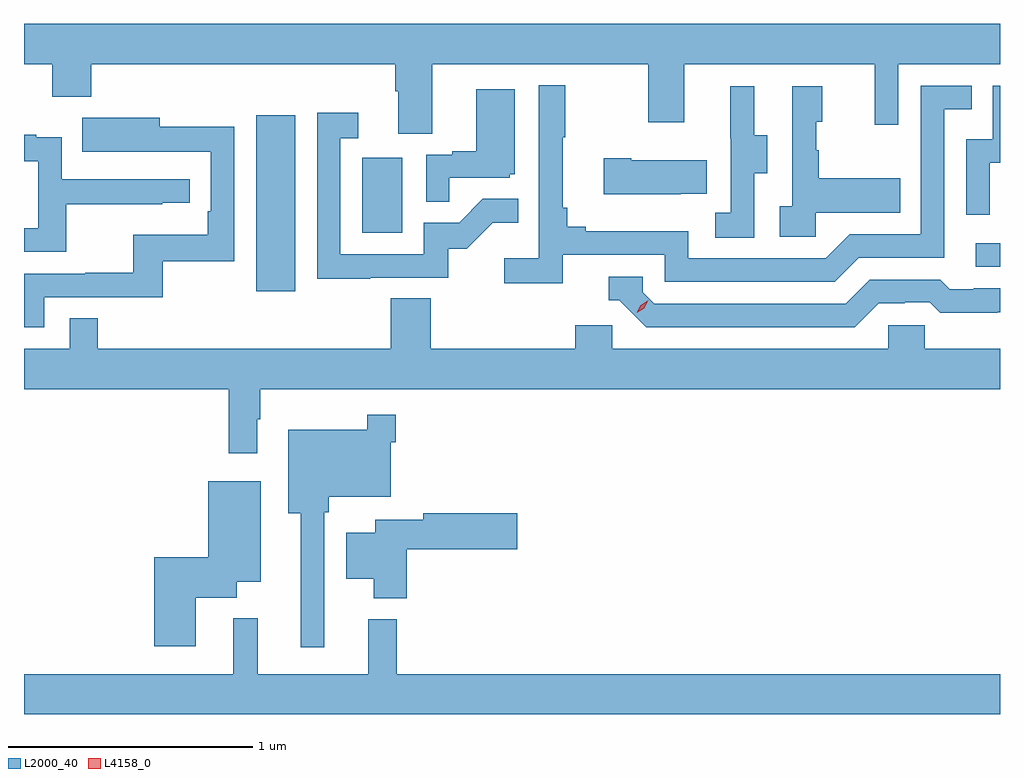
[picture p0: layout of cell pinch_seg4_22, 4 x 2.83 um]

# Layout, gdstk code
import gdstk
lib = gdstk.Library(unit=1e-6, precision=1e-09)
def R(c, l, rs):  # rectangles x0, y0, x1, y1
    for r in rs: c.add(gdstk.rectangle(r[:2], r[2:], *l))
def P(c, l, *ps):  # polygons
    for p in ps: c.add(gdstk.Polygon(p, *l))
L2000_40 = (2000, 40)
L4158_0 = (4158, 0)

pinch_seg4_22 = lib.new_cell('pinch_seg4_22')
R(pinch_seg4_22, L2000_40, [(1089.293,818.532,1089.454,819.253), (1092.243,818.634,1092.342,818.73), (1089.728,818.772,1089.892,819.079)])
P(pinch_seg4_22, L2000_40, [(1088.342,819.464),(1088.458,819.464),(1088.458,819.329),(1088.618,819.329),(1088.618,819.464),(1089.863,819.464),(1089.863,819.352),(1089.875,819.352),(1089.875,819.178),(1090.015,819.178),(1090.015,819.464),(1090.9,819.464),(1090.9,819.225),(1091.047,819.225),(1091.047,819.464),(1091.828,819.464),(1091.828,819.216),(1091.925,819.216),(1091.925,819.464),(1092.342,819.464),(1092.342,819.628),(1088.342,819.628)],
  [(1090.55,818.682),(1090.968,818.682),(1090.968,818.571),(1091.665,818.571),(1091.764,818.67),(1092.114,818.67),(1092.114,819.279),(1092.227,819.279),(1092.227,819.375),(1092.018,819.375),(1092.018,818.766),(1091.727,818.766),(1091.628,818.667),(1091.064,818.667),(1091.064,818.779),(1090.645,818.779),(1090.645,818.798),(1090.568,818.798),(1090.568,818.875),(1090.549,818.875),(1090.549,819.163),(1090.561,819.163),(1090.561,819.376),(1090.452,819.376),(1090.452,818.668),(1090.311,818.668),(1090.311,818.566),(1090.55,818.566)],
  [(1092.3,819.059),(1092.342,819.059),(1092.342,819.375),(1092.312,819.375),(1092.312,819.156),(1092.204,819.156),(1092.204,818.847),(1092.3,818.847)],
  [(1091.586,818.855),(1091.933,818.855),(1091.933,818.995),(1091.599,818.995),(1091.599,819.11),(1091.589,819.11),(1091.589,819.228),(1091.614,819.228),(1091.614,819.373),(1091.49,819.373),(1091.49,818.882),(1091.439,818.882),(1091.439,818.757),(1091.586,818.757)],
  [(1091.334,819.016),(1091.389,819.016),(1091.389,819.171),(1091.335,819.171),(1091.335,819.373),(1091.237,819.373),(1091.237,819.159),(1091.238,819.159),(1091.238,818.855),(1091.175,818.855),(1091.175,818.752),(1091.334,818.752)],
  [(1090.085,818.997),(1090.332,818.997),(1090.332,819.012),(1090.354,819.012),(1090.354,819.361),(1090.196,819.361),(1090.196,819.106),(1090.097,819.106),(1090.097,819.093),(1089.99,819.093),(1089.99,818.899),(1090.085,818.899)],
  [(1089.761,818.589),(1090.08,818.589),(1090.08,818.706),(1090.156,818.706),(1090.263,818.813),(1090.367,818.813),(1090.367,818.912),(1090.223,818.912),(1090.125,818.814),(1089.981,818.814),(1089.981,818.685),(1089.639,818.685),(1089.639,819.159),(1089.712,819.159),(1089.712,819.265),(1089.543,819.265),(1089.543,818.584),(1089.761,818.584)],
  [(1088.424,818.508),(1088.911,818.508),(1088.911,818.655),(1089.204,818.655),(1089.204,819.206),(1088.899,819.206),(1088.899,819.244),(1088.581,819.244),(1088.581,819.104),(1088.795,819.104),(1088.795,819.105),(1089.108,819.105),(1089.108,818.86),(1089.095,818.86),(1089.095,818.764),(1088.79,818.764),(1088.79,818.609),(1088.593,818.609),(1088.593,818.604),(1088.342,818.604),(1088.342,818.385),(1088.424,818.385)],
  [(1088.516,818.89),(1088.909,818.89),(1088.909,818.895),(1089.022,818.895),(1089.022,818.991),(1088.496,818.991),(1088.496,819.163),(1088.393,819.163),(1088.393,819.175),(1088.342,819.175),(1088.342,819.066),(1088.4,819.066),(1088.4,818.79),(1088.342,818.79),(1088.342,818.694),(1088.516,818.694)],
  [(1091.033,818.933),(1091.141,818.933),(1091.141,819.07),(1090.831,819.07),(1090.831,819.078),(1090.719,819.078),(1090.719,818.93),(1091.033,818.93)],
  [(1091.845,818.484),(1091.952,818.484),(1091.952,818.487),(1092.055,818.487),(1092.097,818.445),(1092.33,818.445),(1092.33,818.447),(1092.342,818.447),(1092.342,818.544),(1092.235,818.544),(1092.235,818.541),(1092.136,818.541),(1092.097,818.58),(1091.808,818.58),(1091.709,818.481),(1090.926,818.481),(1090.878,818.529),(1090.878,818.592),(1090.739,818.592),(1090.739,818.496),(1090.782,818.496),(1090.893,818.385),(1091.746,818.385)],
  [(1089.297,818.009),(1089.31,818.009),(1089.31,818.132),(1092.342,818.132),(1092.342,818.296),(1092.033,818.296),(1092.033,818.394),(1091.883,818.394),(1091.883,818.296),(1090.752,818.296),(1090.752,818.394),(1090.601,818.394),(1090.601,818.296),(1090.01,818.296),(1090.01,818.504),(1089.845,818.504),(1089.845,818.296),(1088.645,818.296),(1088.645,818.423),(1088.529,818.423),(1088.529,818.296),(1088.342,818.296),(1088.342,818.132),(1089.181,818.132),(1089.181,817.869),(1089.297,817.869)],
  [(1089.573,817.626),(1089.591,817.626),(1089.591,817.691),(1089.846,817.691),(1089.846,817.913),(1089.866,817.913),(1089.866,818.026),(1089.749,818.026),(1089.749,817.966),(1089.425,817.966),(1089.425,817.622),(1089.476,817.622),(1089.476,817.074),(1089.573,817.074)],
  [(1089.046,817.277),(1089.214,817.277),(1089.214,817.343),(1089.313,817.343),(1089.313,817.753),(1089.098,817.753),(1089.098,817.442),(1088.876,817.442),(1088.876,817.077),(1089.046,817.077)],
  [(1089.911,817.475),(1090.363,817.475),(1090.363,817.622),(1089.978,817.622),(1089.978,817.597),(1089.782,817.597),(1089.782,817.543),(1089.662,817.543),(1089.662,817.355),(1089.776,817.355),(1089.776,817.274),(1089.911,817.274)],
  [(1092.342,816.964),(1089.869,816.964),(1089.869,817.189),(1089.752,817.189),(1089.752,816.964),(1089.299,816.964),(1089.299,817.192),(1089.2,817.192),(1089.2,816.964),(1088.342,816.964),(1088.342,816.8),(1092.342,816.8)])
P(pinch_seg4_22, L4158_0, [(1090.854,818.444),(1090.854,818.444),(1090.87,818.476),(1090.901,818.496),(1090.901,818.496),(1090.901,818.496),(1090.885,818.463),(1090.854,818.444)])

lib.write_gds('pinch_seg4_22.gds')
